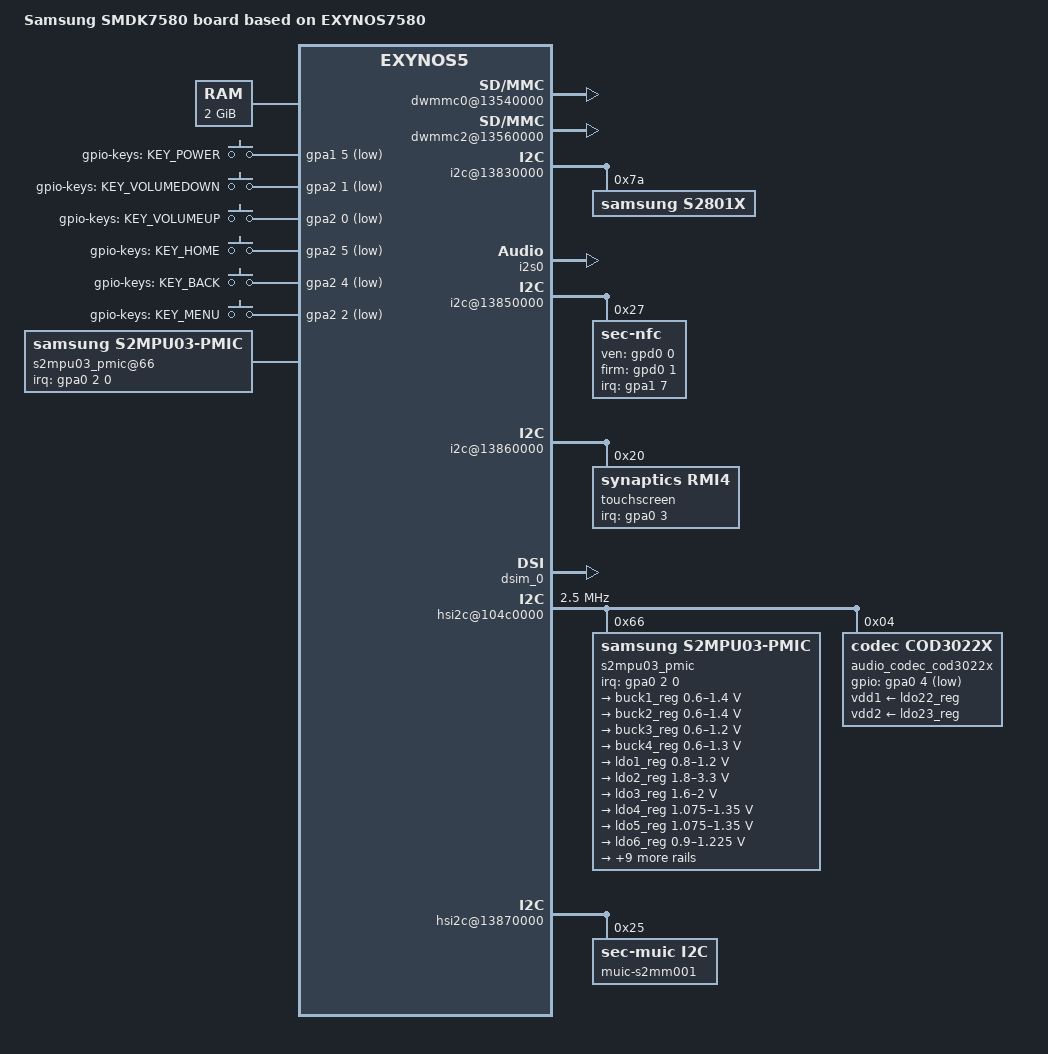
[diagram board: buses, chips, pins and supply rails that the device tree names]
/*
 * SAMSUNG SMDK7580 board device tree source
 *
 * Copyright (c) 2014 Samsung Electronics Co., Ltd.
 *		http://www.samsung.com
 *
 * This program is free software; you can redistribute it and/or modify
 * it under the terms of the GNU General Public License version 2 as
 * published by the Free Software Foundation.
 */

/dts-v1/;
#include "exynos7580.dtsi"
#include "exynos7580-modem-sh310ap.dtsi"

/ {
	model = "Samsung SMDK7580 board based on EXYNOS7580";
	compatible = "samsung,exynos7580-smdk7580", "samsung,exynos7580";

	aliases {
		spi0 = &spi_0;
		spi1 = &spi_1;
		spi2 = &spi_2;
	};

	chosen {
		bootargs = "console=ttySAC1,115200n8 ess_setup=0x26000000";
		linux,initrd-start = <0x22000000>;
		linux,initrd-end = <0x220FFFFF>;
	};

	fixed-rate-clocks {
		oscclk {
			compatible = "samsung,exynos7580-oscclk";
			clock-frequency = <26000000>;
		};
	};

	reserved-memory {
		#address-cells = <2>;
		#size-cells = <2>;
		ranges;

		fimc_is_fd_reserved: fimc_is_fd {
			compatible = "fd-lib-shmem";
			reg = <0x0 0x9f600000 0x0 0x100000>;
		};

		common {
			compatible = "exynos5433-ion,common";
			reg = <0x0 0x9f000000 0x0 0x600000>;
			id = <0>;
		};

		video {
			compatible = "exynos5433-ion,video";
			secure;
			reg = <0x0 0x9c100000 0x0 0x2f00000>;
			id = <11>;
			compat-id = <4 5 6 7>;
		};

		video_ext {
			compatible = "exynos5433-ion,video_ext";
			secure;
			reusable;
			reg = <0x0 0x99000000 0x0 0x1400000>;
			id = <1>;
		};

		video_ext2 {
			compatible = "exynos5433-ion,video_ext2";
			secure;
			reusable;
			reg = <0x0 0x9a400000 0x0 0x1800000>;
			id = <3>;
		};

		mfc_nfw {
			compatible = "exynos5433-ion,mfc_nfw";
			reg = <0x0 0x9bf00000 0x0 0x110000>;
			id = <12>;
		};

		mfc_fw {
			compatible = "exynos5433-ion,mfc_fw";
			secure;
			reg = <0x0 0x9bd00000 0x0 0x200000>;
			id = <8>;
		};

		secdma {
			compatible = "exynos5433-ion,secdma";
			size = <0 0x20000>;
			alignment = <0 0x10000>;
			id = <13>;
		};
	};

	memory@20000000 {
		device_type = "memory";
		reg = <0x0 0x20000000 0x0 0x80000000>;
	};

        dwmmc0@13540000 {
                status = "okay";
                num-slots = <1>;
                broken-cd;
                bypass-smu;
                fixed_volt;
                clock-gate;
                enable-cclk-on-suspend;
                only_once_tune;
                use-fine-tuning;
		ignore-phase = <(1 << 7)>;
                bypass-for-allpass;
                supports-highspeed;
                supports-hs200-mode;
                /* supports-ddr200-mode; */
                enable-cache-control;
                use-enable-shift;
                qos_int_level = <200000>;
                fifo-depth = <0x40>;
                card-detect-delay = <200>;
                samsung,dw-mshc-ciu-div = <3>;
                samsung,dw-mshc-sdr-timing = <3 0 2 1>;
                samsung,dw-mshc-ddr-timing = <3 0 3 2>;
                samsung,dw-mshc-hs200-timing = <3 0 3 1>;
                samsung,dw-mshc-ddr200-timing = <1 0 2 2>;
                samsung,dw-mshc-ddr200-delay-line = <118>;
                clk_pin = "gpr0-0";
                clk_addr = "13750000.pinctrl";
                clk_val = <0x3>;
                clk_str_num = <6>;
                tp_mon_depth = <2>;
                              /* Byte/s,  MIF clk, CPU clk, KFC clk*/
                tp_mon_table = <8000000 825000  800000  0
                                0       0       0       0>;
                num-ref-clks = <8>;
                ciu_clkin = <25 50 50 100 200 100 200 400>;
                pinctrl-names = "default";
                pinctrl-0 = <&sd0_clk &sd0_cmd &sd0_rdqs &sd0_bus1 &sd0_bus4 &sd0_bus8>;
                slot@0 {
                        reg = <0>;
                        bus-width = <8>;
                };
        };

        dwmmc2@13560000 {
                status = "okay";
                num-slots = <1>;
                supports-highspeed;
                enable-cclk-on-suspend;
                cd-type = <1>;
                bypass-smu;
                use-fine-tuning;
                clock-gate;
                fifo-depth = <0x40>;
                card-detect-delay = <200>;
                qos_int_level = <468000>;
                bypass-for-allpass;
                fix-fmp-size-mismatch;
                not-allow-single-dma;
                samsung,dw-mshc-ciu-div = <3>;
                samsung,dw-mshc-sdr-timing = <3 0 3 2>;
                samsung,dw-mshc-ddr-timing = <3 0 2 1>;
                clk_pin = "gpr4-0";
                clk_addr = "10E60000.pinctrl";
                clk_val = <0x2>;
                clk_str_num = <6>;
                num-ref-clks = <8>;
                ciu_clkin = <25 50 50 100 200 100 200 400>;
                pinctrl-names = "default";
                pinctrl-0 = <&sd2_clk &sd2_cmd &sd2_cd &sd2_bus1 &sd2_bus4>;
                slot@0 {
                        reg = <0>;
                        bus-width = <4>;
                        disable-wp;
                };
        };

	ion {
		compatible = "samsung,exynos5430-ion";
	};

	i2c@13830000 {
		samsung,i2c-sda-delay = <100>;
		samsung,i2c-max-bus-freq = <400000>;
		status = "okay";

		s2801x: s2801x@7a {
			compatible = "samsung,s2801x";
			reg = <0x7a>;
			clocks = <&clock 154>,	/* sclk_audmixer */
				 <&clock 155>,	/* sclk_audmixer_bclk0*/
				 <&clock 156>,	/* sclk_audmixer_bclk1 */
				 <&clock 157>,	/* sclk_audmixer_bclk2 */
				 <&clock 152>,	/* bclk_mi2s */
				 <&clock 149>;	/* dout_audmixer*/

			clock-names = "audmixer_sysclk", "audmixer_bclk0",
					"audmixer_bclk1", "audmixer_bclk2",
					"mi2s_bclk", "audmixer_dout";
			sysreg-reset = <0x110F2000>;
			sysreg-i2c = <0x110F3000>;
		};
	};

	i2s0: i2s@11040000 {
		status = "okay";
	};

	audio_cp_dummy: cp_dummy {
		compatible = "samsung,cp_dummy";
		status = "okay";
	};

	audio_bt_dummy: bt_dummy {
		compatible = "samsung,bt_dummy";
		status = "okay";
	};

	audio_codec_dummy: dummy-codec {
		compatible = "samsung,dummy-codec";
		status = "okay";
	};

	sound {
		compatible = "samsung,smdk7580-cod3022x";
		samsung,audio-cpu = <&i2s0	/* primary */
					&i2s0	/* secondary */
					&audio_cp_dummy
					&audio_bt_dummy>;
		samsung,audio-codec = <&audio_codec_cod3022x
					&audio_codec_cod3022x
					&audio_codec_cod3022x
					&audio_codec_dummy>;
		samsung,auxdev = <&s2801x>;
		status = "okay";
	};

	gpio_keys {
		compatible = "gpio-keys";
		pinctrl-names = "default";
		pinctrl-0 = <&gpa1_pull_up>, <&gpa2_pull_up>;

		button@1 {
			label = "gpio-keys: KEY_POWER";
			interrupt-parent = <&gpa1>;
			linux,code = <116>;
			gpios = <&gpa1 5 0xf>;
			gpio-key,wakeup = <1>;
		};
		button@2 {
			label = "gpio-keys: KEY_VOLUMEDOWN";
			interrupt-parent = <&gpa2>;
			linux,code = <114>;
			gpios = <&gpa2 1 0xf>;
		};
		button@3 {
			label = "gpio-keys: KEY_VOLUMEUP";
			interrupt-parent = <&gpa2>;
			linux,code = <115>;
			gpios = <&gpa2 0 0xf>;
		};
		button@4 {
			label = "gpio-keys: KEY_HOME";
			interrupt-parent = <&gpa2>;
			linux,code = <172>;
			gpios = <&gpa2 5 0xf>;
			gpio-key,wakeup = <1>;
		};
		button@5 {
			label = "gpio-keys: KEY_BACK";
			interrupt-parent = <&gpa2>;
			linux,code = <158>;
			gpios = <&gpa2 4 0xf>;
		};
		button@6 {
			label = "gpio-keys: KEY_MENU";
			interrupt-parent = <&gpa2>;
			linux,code = <139>;
			gpios = <&gpa2 2 0xf>;
		};
	};

	pinctrl@139B0000 {
		attn_irq: attn-irq {
			samsung,pins = "gpa0-3";
			samsung,pin-function = <0xf>;
			samsung,pin-pud = <0>;
			samsung,pin-drv = <0>;
		};
		attn_input: attn-input {
			samsung,pins = "gpa0-3";
			samsung,pin-function = <0>;
			samsung,pin-pud = <1>;
			samsung,pin-drv = <0>;
		};
		muic_irq: muic-irq {
			samsung,pins = "gpa1-0";
			samsung,pin-function = <0>;
			samsung,pin-pud = <0>;
			samsung,pin-drv = <0>;
		};
	};

	i2c@13850000 {
		samsung,i2c-sda-delay = <100>;
		samsung,i2c-max-bus-freq = <400000>;
		status = "okay";

		sec-nfc@27 {
			compatible = "sec-nfc";
			reg = <0x27>;

			sec-nfc,ven-gpio = <&gpd0 0 0>;
			sec-nfc,firm-gpio = <&gpd0 1 0>;

			sec-nfc,irq-gpio = <&gpa1 7 0>;
		};
	};

	i2c@13860000 {
		samsung,i2c-sda-delay = <100>;
		samsung,i2c-max-bus-freq = <400000>;
		status = "okay";

		touchscreen@20 {
			compatible = "synaptics,rmi4";
			reg = <0x20>;
			pinctrl-names = "on_state", "off_state";
			pinctrl-0 = <&attn_irq>;
			pinctrl-1 = <&attn_input>;
			synaptics,irq_gpio = <&gpa0 3 0>;
			synaptics,irq_type = <8200>;
			synaptics,max_coords = <1079 1919>;     /* x y */
			synaptics,num_lines = <29 16>;          /* rx tx */
			synaptics,regulator_dvdd = "tsp_io";
			synaptics,regulator_avdd = "tsp_avdd";
			synaptics,project_name = "";
		};
	};

	decon_fb@14830000 {
		/* XEINT7, GPIO & pin control */
		gpios = <&gpa0 7 0xf>;
		psr_mode = <2>;		/* 0: video mode, 1: DP command mode, 2: MIPI command mode */
		disp-pll-clk = <142000000>;
		status = "okay";
	};

	dsim_0: dsim@14800000 {
		lcd_info = <&s6e3fa0>;
		decon_board = <&decon_board_list>;
		/* lcd reset, power */
		/* gpios = <&gpd1 3 0x1>; */
		status = "okay";
	};

	decon_board_list: decon_board_list {
		dsim_set_panel_power_disable {
			type = "gpio,low", "delay,usleep";
			gpios = <&gpd1 3 0x1>;
			delay = <10000 11000>;
		};
		dsim_reset_panel {
			type = "gpio,high", "delay,usleep", "gpio,low", "delay,usleep", "gpio,high", "delay,usleep";
			gpios = <&gpd1 3 0x1>, <&gpd1 3 0x1>, <&gpd1 3 0x1>;
			delay = <10000 11000>, <10000 11000>, <10000 11000>;
		};
	};

	s6e3fa0: s6e3fa0_fhd {
		mode = <2>; /* 0: video mode, 1: DP command mode, 2: MIPI command mode */
		resolution = <1080 1920>;
		size = <70 121>;
		timing,refresh = <60>;
		timing,h-porch = <1 1 1>;
		timing,v-porch = <10 1 1>;
		timing,dsi-hs-clk = <1100>;
		timing,dsi-escape-clk = <20>;
	};

	pinctrl@139B0000 {
		pmic_irq: pmic-irq {
			samsung,pins = "gpa0-2";
			samsung,pin-pud = <3>;
			samsung,pin-drv = <3>;
		};
		cod3022_irq: cod3022-irq {
			samsung,pins = "gpa0-4";
			samsung,pin-pud = <3>;
			samsung,pin-drv = <3>;
		};
	};

	pinctrl@139C0000 {
		/* Warm reset information from AP */
		pm_wrsti: pm-wrsti {
			samsung,pins = "gpd0-7";
			samsung,pin-con-pdn = <3>;
		};
	};

	hsi2c@104c0000 {
                status = "okay";
		samsung,hs-mode;
		clock-frequency = <2500000>;
		samsung,hsi2c-batcher;
		#address-cells = <1>;
		#size-cells = <0>;
		s2mpu03_pmic@66 {
			compatible = "samsung,s2mpu03-pmic";
			reg = <0x66>;
			ten-bit-address;
			interrupts = <2 0 0>;
			interrupt-parent = <&gpa0>;
			pinctrl-names = "default";
			pinctrl-0 = <&pmic_irq &pm_wrsti>;
			g3d_en = <1>; /* 1 : enable , 0 : disable */
			/*
			buck4en_pin = "etc1-3";
			buck4en_addr = "1111111.pinctrl";
			*/
			/* RTC: wtsr/smpl */
			wtsr_en = <1>; /* enable */
			smpl_en = <1>; /* enable */
			wtsr_timer_val = <3>;   /* 1000ms */
			smpl_timer_val = <0>;   /* 500ms */
			check_jigon = <0>; /* do not check jigon */
			/* RTC: If it's first boot, reset rtc to 1/1/2014 12:00:00(Wed) */
			init_time,sec = <0>;
			init_time,min = <0>;
			init_time,hour = <12>;
			init_time,mday = <1>;
			init_time,mon = <0>;
			init_time,year = <114>;
			init_time,wday = <3>;

			regulators {
				buck1_reg: BUCK1 {
					regulator-name = "cpu-cluster.1";
					regulator-min-microvolt = <600000>;
					regulator-max-microvolt = <1400000>;
					regulator-always-on;
					regulator-boot-on;
					regulator-ramp-delay = <12000>;
					regulator-initial-mode = <1>;
				};

				buck2_reg: BUCK2 {
					regulator-name = "cpu-cluster.0";
					regulator-min-microvolt = <600000>;
					regulator-max-microvolt = <1400000>;
					regulator-always-on;
					regulator-boot-on;
					regulator-ramp-delay = <12000>;
					regulator-initial-mode = <1>;
				};

				buck3_reg: BUCK3 {
					regulator-name = "vdd_intmif";
					regulator-min-microvolt = <600000>;
					regulator-max-microvolt = <1200000>;
					regulator-always-on;
					regulator-boot-on;
					regulator-ramp-delay = <12000>;
					regulator-initial-mode = <1>;
				};

				buck4_reg: BUCK4 {
					regulator-name = "vdd_g3d";
					regulator-min-microvolt = <600000>;
					regulator-max-microvolt = <1300000>;
					regulator-always-on;
					regulator-boot-on;
					regulator-ramp-delay = <12000>;
					regulator-initial-mode = <1>;
				};

				ldo1_reg: LDO1 {
					regulator-name = "vdd_ldo1";
					regulator-min-microvolt = <800000>;
					regulator-max-microvolt = <1200000>;
					regulator-always-on;
					regulator-ramp-delay = <12000>;
					regulator-initial-mode = <3>;
				};

				ldo2_reg: LDO2 {
					regulator-name = "vqmmc";
					regulator-min-microvolt = <1800000>;
					regulator-max-microvolt = <3300000>;
					regulator-boot-on;
					regulator-always-on;
					regulator-ramp-delay = <12000>;
					regulator-initial-mode = <1>;
				};

				ldo3_reg: LDO3 {
					regulator-name = "vdd_ldo3";
					regulator-min-microvolt = <1600000>;
					regulator-max-microvolt = <2000000>;
					regulator-boot-on;
					regulator-always-on;
					regulator-ramp-delay = <12000>;
					regulator-initial-mode = <3>;
				};

				ldo4_reg: LDO4 {
					regulator-name = "vdd_ldo4";
					regulator-min-microvolt = <1075000>;
					regulator-max-microvolt = <1350000>;
					regulator-boot-on;
					regulator-always-on;
					regulator-ramp-delay = <12000>;
					regulator-initial-mode = <1>;
				};

				ldo5_reg: LDO5 {
					regulator-name = "vdd_ldo5";
					regulator-min-microvolt = <1075000>;
					regulator-max-microvolt = <1350000>;
					regulator-boot-on;
					regulator-always-on;
					regulator-ramp-delay = <12000>;
					regulator-initial-mode = <3>;
				};

				ldo6_reg: LDO6 {
					regulator-name = "vdd_ldo6";
					regulator-min-microvolt = <900000>;
					regulator-max-microvolt = <1225000>;
					regulator-boot-on;
					regulator-always-on;
					regulator-ramp-delay = <12000>;
					regulator-initial-mode = <1>;
				};

				ldo7_reg: LDO7 {
					regulator-name = "vdd_ldo7";
					regulator-min-microvolt = <1600000>;
					regulator-max-microvolt = <2000000>;
					regulator-boot-on;
					regulator-always-on;
					regulator-initial-mode = <1>;
				};

				ldo8_reg: LDO8 {
					regulator-name = "vdd_ldo8";
					regulator-min-microvolt = <2250000>;
					regulator-max-microvolt = <3300000>;
					regulator-boot-on;
					regulator-always-on;
					regulator-initial-mode = <1>;
				};

				ldo10_reg: LDO10 {
					regulator-name = "vdd_ldo10";
					regulator-min-microvolt = <800000>;
					regulator-max-microvolt = <1350000>;
					regulator-always-on;
					regulator-initial-mode = <1>;
				};

				ldo22_reg: LDO22 {
					regulator-name = "codec_ldo22";
					regulator-min-microvolt = <1000000>;
					regulator-max-microvolt = <2375000>;
					regulator-boot-on;
					regulator-always-on;
					regulator-initial-mode = <3>;
				};

				ldo23_reg: LDO23 {
					regulator-name = "codec_ldo23";
					regulator-min-microvolt = <1000000>;
					regulator-max-microvolt = <2375000>;
					regulator-boot-on;
					regulator-always-on;
					regulator-initial-mode = <3>;
				};

				ldo30_reg: LDO30 {
					regulator-name = "vdd_lcd3p0v";
					regulator-min-microvolt = <1800000>;
					regulator-max-microvolt = <3375000>;
					regulator-always-on;
					regulator-initial-mode = <1>;
				};

				ldo31_reg: LDO31 {
					regulator-name = "vdd_lcd1p8v";
					regulator-min-microvolt = <1000000>;
					regulator-max-microvolt = <2375000>;
					regulator-always-on;
					regulator-initial-mode = <1>;
				};

				ldo33_reg: LDO33 {
					regulator-name = "tsp_io";
					regulator-min-microvolt = <1800000>;
					regulator-max-microvolt = <3375000>;
					regulator-always-on;
					regulator-initial-mode = <1>;
				};

				ldo36_reg: LDO36 {
					regulator-name = "tsp_avdd";
					regulator-min-microvolt = <1000000>;
					regulator-max-microvolt = <2375000>;
					regulator-always-on;
					regulator-initial-mode = <1>;
				};
			};
		};

		audio_codec_cod3022x: cod3022x@04 {
			compatible = "codec,cod3022x";
			reg = <0x04>;
			ten-bit-address;
			vdd1-supply = <&ldo22_reg>;
			vdd2-supply = <&ldo23_reg>;
			pinctrl-names = "default", "idle";
			pinctrl-0 = <&i2s_pmic_bus &cod3022_irq>;
			pinctrl-1 = <&i2s_pmic_bus_idle>;
			interrupt-parent = <&gpa0>;
                        gpios = <&gpa0 4 0xf>;
		};
	};

	usb_notifier {
		compatible = "samsung,usb-notifier";
	};

	hsi2c@13870000 {
		status = "okay";
		muic-s2mm001@25 {
			compatible = "sec-muic,i2c";
			reg = <0x25>;
			pinctrl-names = "default";
			muic,muic_int = <&gpa1 0 0>;
		};
	};
		samsung,hs-mode;
		clock-frequency = <2500000>;
		#address-cells = <1>;
		#size-cells = <0>;
		s2mpu03_pmic@66 {
			compatible = "samsung,s2mpu03-pmic";
			reg = <0x66>;
			interrupts = <2 0 0>;
			interrupt-parent = <&gpa0>;
			pinctrl-names = "default";
			pinctrl-0 = <&pmic_irq &pm_wrsti>;
			g3d_en = <0>; /* 1 : enable , 0 : disable */
			/*
			buck4en_pin = "etc1-3";
			buck4en_addr = "1111111.pinctrl";
			*/
			/* RTC: wtsr/smpl */
			wtsr_en = <1>; /* enable */
			smpl_en = <1>; /* enable */
			wtsr_timer_val = <3>;   /* 1000ms */
			smpl_timer_val = <0>;   /* 500ms */
			check_jigon = <0>; /* do not check jigon */
			/* RTC: If it's first boot, reset rtc to 1/1/2014 12:00:00(Wed) */
			init_time,sec = <0>;
			init_time,min = <0>;
			init_time,hour = <12>;
			init_time,mday = <1>;
			init_time,mon = <0>;
			init_time,year = <114>;
			init_time,wday = <3>;

			regulators {
				buck1_reg: BUCK1 {
					regulator-name = "cpu-cluster.1";
					regulator-min-microvolt = <600000>;
					regulator-max-microvolt = <1400000>;
					regulator-always-on;
					regulator-boot-on;
					regulator-ramp-delay = <12000>;
					regulator-initial-mode = <1>;
				};

				buck2_reg: BUCK2 {
					regulator-name = "cpu-cluster.0";
					regulator-min-microvolt = <600000>;
					regulator-max-microvolt = <1400000>;
					regulator-always-on;
					regulator-boot-on;
					regulator-ramp-delay = <12000>;
					regulator-initial-mode = <1>;
				};

				buck3_reg: BUCK3 {
					regulator-name = "vdd_intmif";
					regulator-min-microvolt = <600000>;
					regulator-max-microvolt = <1200000>;
					regulator-always-on;
					regulator-boot-on;
					regulator-ramp-delay = <12000>;
					regulator-initial-mode = <1>;
				};

				buck4_reg: BUCK4 {
					regulator-name = "vdd_g3d";
					regulator-min-microvolt = <600000>;
					regulator-max-microvolt = <1300000>;
					regulator-always-on;
					regulator-boot-on;
					regulator-ramp-delay = <12000>;
					regulator-initial-mode = <1>;
				};

				ldo1_reg: LDO1 {
					regulator-name = "vdd_ldo1";
					regulator-min-microvolt = <800000>;
					regulator-max-microvolt = <1200000>;
					regulator-always-on;
					regulator-ramp-delay = <12000>;
					regulator-initial-mode = <3>;
				};

				ldo2_reg: LDO2 {
					regulator-name = "vqmmc";
					regulator-min-microvolt = <1800000>;
					regulator-max-microvolt = <3300000>;
					regulator-boot-on;
					regulator-always-on;
					regulator-ramp-delay = <12000>;
					regulator-initial-mode = <1>;
				};

				ldo3_reg: LDO3 {
					regulator-name = "vdd_ldo3";
					regulator-min-microvolt = <1600000>;
					regulator-max-microvolt = <2000000>;
					regulator-boot-on;
					regulator-always-on;
					regulator-ramp-delay = <12000>;
					regulator-initial-mode = <3>;
				};

				ldo4_reg: LDO4 {
					regulator-name = "vdd_ldo4";
					regulator-min-microvolt = <1075000>;
					regulator-max-microvolt = <1350000>;
					regulator-boot-on;
					regulator-always-on;
					regulator-ramp-delay = <12000>;
					regulator-initial-mode = <1>;
				};

				ldo5_reg: LDO5 {
					regulator-name = "vdd_ldo5";
					regulator-min-microvolt = <1075000>;
					regulator-max-microvolt = <1350000>;
					regulator-boot-on;
					regulator-always-on;
					regulator-ramp-delay = <12000>;
					regulator-initial-mode = <3>;
				};

				ldo6_reg: LDO6 {
					regulator-name = "vdd_ldo6";
					regulator-min-microvolt = <900000>;
					regulator-max-microvolt = <1225000>;
					regulator-boot-on;
					regulator-always-on;
					regulator-ramp-delay = <12000>;
					regulator-initial-mode = <1>;
				};

				ldo7_reg: LDO7 {
					regulator-name = "vdd_ldo7";
					regulator-min-microvolt = <1600000>;
					regulator-max-microvolt = <2000000>;
					regulator-boot-on;
					regulator-always-on;
					regulator-initial-mode = <1>;
				};

				ldo8_reg: LDO8 {
					regulator-name = "vdd_ldo8";
					regulator-min-microvolt = <2250000>;
					regulator-max-microvolt = <3300000>;
					regulator-boot-on;
					regulator-always-on;
					regulator-initial-mode = <1>;
				};

				ldo10_reg: LDO10 {
					regulator-name = "vdd_ldo10";
					regulator-min-microvolt = <800000>;
					regulator-max-microvolt = <1350000>;
					regulator-always-on;
					regulator-initial-mode = <1>;
				};

				ldo22_reg: LDO22 {
					regulator-name = "codec_ldo22";
					regulator-min-microvolt = <1000000>;
					regulator-max-microvolt = <2375000>;
					/* regulator-always-on; */
					regulator-initial-mode = <1>;
				};

				ldo23_reg: LDO23 {
					regulator-name = "codec_ldo23";
					regulator-min-microvolt = <1000000>;
					regulator-max-microvolt = <2375000>;
					/* regulator-always-on; */
					regulator-initial-mode = <1>;
				};

				ldo30_reg: LDO30 {
					regulator-name = "vdd_lcd3p0v";
					regulator-min-microvolt = <1800000>;
					regulator-max-microvolt = <3375000>;
					regulator-always-on;
					regulator-initial-mode = <1>;
				};

				ldo31_reg: LDO31 {
					regulator-name = "vdd_lcd1p8v";
					regulator-min-microvolt = <1000000>;
					regulator-max-microvolt = <2375000>;
					regulator-always-on;
					regulator-initial-mode = <1>;
				};

				ldo33_reg: LDO33 {
					regulator-name = "tsp_io";
					regulator-min-microvolt = <1800000>;
					regulator-max-microvolt = <3375000>;
					/* regulator-always-on; */
					regulator-initial-mode = <1>;
				};

				ldo36_reg: LDO36 {
					regulator-name = "tsp_avdd";
					regulator-min-microvolt = <1000000>;
					regulator-max-microvolt = <2375000>;
					/* regulator-always-on; */
					regulator-initial-mode = <1>;
				};
			};
		};
	};

	usb_notifier {
		compatible = "samsung,usb-notifier";
	};

	hsi2c@13870000 {
		status = "okay";
		muic-s2mm001@25 {
			compatible = "sec-muic,i2c";
			reg = <0x25>;
			pinctrl-names = "default";
			muic,muic_int = <&gpa1 0 0>;
		};
	};

	pinctrl@138C0000 {
		gpio_cp_reset: gpio_cp_reset {
			samsung,pins = "gpc3-3";
			samsung,pin-function = <0x1>;
			samsung,pin-pud = <3>;
			samsung,pin-drv = <3>;
			samsung,pin-val = <1>;
			samsung,pin-con-pdn = <1>;
		};
	};

	fimc_is_sensor_3l2: fimc-is_sensor_3l2@0 {
		compatible = "samsung,exynos5-fimc-is-sensor-3l2";

		pinctrl-names = "pin0", "pin1";
		pinctrl-0 = <&fimc_is_mclk0_fn &fimc_is_i2c0>; /* rear on */
		pinctrl-1 = <&fimc_is_mclk0_in &fimc_is_i2c0>; /* rear off */

		position = <0>; /* Rear:0. Front:1 */
		id = <0>; /* bns_id */
		mclk_ch = <0>;
		sensor_i2c_ch = <0>; /* I2C 0 */
		sensor_i2c_addr = <0x0>;

		gpio_reset = <&gpd0 6 0x1>; /* sensor reset */
		status = "okay";

		af {
			product_name = <8>; /* DW9804 */
			i2c_addr = <0x5A>;
			i2c_ch = <0>; /* I2C 0 */
		};
	};

	fimc_is_sensor_5e3: fimc-is_sensor_5e3@0 {
		compatible = "samsung,exynos5-fimc-is-sensor-5e3";

		pinctrl-names = "pin0", "pin1";
		pinctrl-0 = <&fimc_is_mclk1_fn &fimc_is_i2c1>; /* front on */
		pinctrl-1 = <&fimc_is_mclk1_in &fimc_is_i2c1>; /* front off */

		position = <1>; /* Rear:0. Front:1 */
		id = <1>; /* bns_id */
		mclk_ch = <1>;
		sensor_i2c_ch = <1>;
		sensor_i2c_addr = <0x0>;

		gpio_reset = <&gpc3 2 0x1>;
		status = "okay";
	};

	fimc_is_sensor0: fimc_is_sensor@144a0000 {
		scenario = <0>;
		id = <0>;
		mclk_ch = <0>;
		csi_ch = <0>;
		flite_ch = <0>;
		i2c_ch = <0>;
		i2c_addr = <0x0>;
		is_bns = <1>;
		status = "okay";
	};

	fimc_is_sensor1: fimc_is_sensor@144b0000 {
		scenario = <0>;
		id = <1>;
		mclk_ch = <1>;
		csi_ch = <1>;
		flite_ch = <1>;
		i2c_ch = <1>;
		i2c_addr = <0x0>;
		is_bns = <0>;
		status = "okay";
	};

	fimc_is@14400000 {
		rear_sensor_id = <8>;
		front_sensor_id = <17>;
		skip_cal_loading;

		#define DVFS_INT_L0 400000
		#define DVFS_INT_L1 334000
		#define DVFS_INT_L2 267000
		#define DVFS_INT_L3 200000
		#define DVFS_INT_L4 160000
		#define DVFS_INT_L5 134000
		#define DVFS_INT_L6 111000
		#define DVFS_INT_L7 100000

		#define DVFS_CAM_L0 530000
		#define DVFS_CAM_L1 480000
		#define DVFS_CAM_L2 430000
		#define DVFS_CAM_L3 400000
		#define DVFS_CAM_L4 200000

		#define DVFS_MIF_L0 825000
		#define DVFS_MIF_L1 728000
		#define DVFS_MIF_L2 667000
		#define DVFS_MIF_L3 559000
		#define DVFS_MIF_L4 416000
		#define DVFS_MIF_L5 338000
		#define DVFS_MIF_L6 273000
		#define DVFS_MIF_L7 200000

		fimc_is_dvfs {
			default_int = <DVFS_INT_L0>;
			default_cam = <DVFS_CAM_L0>;
			default_mif = <DVFS_MIF_L0>;
			default_i2c = <0>;

			front_preview_int = <DVFS_INT_L0>;
			front_preview_cam = <DVFS_CAM_L0>;
			front_preview_mif = <DVFS_MIF_L0>;
			front_preview_i2c = <0>;

			front_capture_int = <DVFS_INT_L0>;
			front_capture_cam = <DVFS_CAM_L0>;
			front_capture_mif = <DVFS_MIF_L0>;
			front_capture_i2c = <0>;

			front_video_int = <DVFS_INT_L0>;
			front_video_cam = <DVFS_CAM_L0>;
			front_video_mif = <DVFS_MIF_L0>;
			front_video_i2c = <0>;

			front_video_whd_int = <DVFS_INT_L0>;
			front_video_whd_cam = <DVFS_CAM_L0>;
			front_video_whd_mif = <DVFS_MIF_L0>;
			front_video_whd_i2c = <0>;

			front_video_capture_int = <DVFS_INT_L0>;
			front_video_capture_cam = <DVFS_CAM_L0>;
			front_video_capture_mif = <DVFS_MIF_L0>;
			front_video_capture_i2c = <0>;

			front_video_whd_capture_int = <DVFS_INT_L0>;
			front_video_whd_capture_cam = <DVFS_CAM_L0>;
			front_video_whd_capture_mif = <DVFS_MIF_L0>;
			front_video_whd_capture_i2c = <0>;

			front_vt1_int = <DVFS_INT_L0>;
			front_vt1_cam = <DVFS_CAM_L0>;
			front_vt1_mif = <DVFS_MIF_L0>;
			front_vt1_i2c = <0>;

			front_vt2_int = <DVFS_INT_L0>;
			front_vt2_cam = <DVFS_CAM_L0>;
			front_vt2_mif = <DVFS_MIF_L0>;
			front_vt2_i2c = <0>;

			rear_preview_fhd_int = <DVFS_INT_L0>;
			rear_preview_fhd_cam = <DVFS_CAM_L0>;
			rear_preview_fhd_mif = <DVFS_MIF_L0>;
			rear_preview_fhd_i2c = <0>;

			rear_preview_whd_int = <DVFS_INT_L0>;
			rear_preview_whd_cam = <DVFS_CAM_L0>;
			rear_preview_whd_mif = <DVFS_MIF_L0>;
			rear_preview_whd_i2c = <0>;

			rear_preview_uhd_int = <DVFS_INT_L0>;
			rear_preview_uhd_cam = <DVFS_CAM_L0>;
			rear_preview_uhd_mif = <DVFS_MIF_L0>;
			rear_preview_uhd_i2c = <0>;

			rear_capture_int = <DVFS_INT_L0>;
			rear_capture_cam = <DVFS_CAM_L0>;
			rear_capture_mif = <DVFS_MIF_L0>;
			rear_capture_i2c = <0>;

			rear_video_fhd_int = <DVFS_INT_L0>;
			rear_video_fhd_cam = <DVFS_CAM_L0>;
			rear_video_fhd_mif = <DVFS_MIF_L0>;
			rear_video_fhd_i2c = <0>;

			rear_video_uhd_int = <DVFS_INT_L0>;
			rear_video_uhd_cam = <DVFS_CAM_L0>;
			rear_video_uhd_mif = <DVFS_MIF_L0>;
			rear_video_uhd_i2c = <0>;

			rear_video_fhd_capture_int = <DVFS_INT_L0>;
			rear_video_fhd_capture_cam = <DVFS_CAM_L0>;
			rear_video_fhd_capture_mif = <DVFS_MIF_L0>;
			rear_video_fhd_capture_i2c = <0>;

			rear_video_uhd_capture_int = <DVFS_INT_L0>;
			rear_video_uhd_capture_cam = <DVFS_CAM_L0>;
			rear_video_uhd_capture_mif = <DVFS_MIF_L0>;
			rear_video_uhd_capture_i2c = <0>;

			dual_preview_int = <DVFS_INT_L0>;
			dual_preview_cam = <DVFS_CAM_L0>;
			dual_preview_mif = <DVFS_MIF_L0>;
			dual_preview_i2c = <0>;

			dual_capture_int = <DVFS_INT_L0>;
			dual_capture_cam = <DVFS_CAM_L0>;
			dual_capture_mif = <DVFS_MIF_L0>;
			dual_capture_i2c = <0>;

			dual_video_int = <DVFS_INT_L0>;
			dual_video_cam = <DVFS_CAM_L0>;
			dual_video_mif = <DVFS_MIF_L0>;
			dual_video_i2c = <0>;

			dual_video_capture_int = <DVFS_INT_L0>;
			dual_video_capture_cam = <DVFS_CAM_L0>;
			dual_video_capture_mif = <DVFS_MIF_L0>;
			dual_video_capture_i2c = <0>;

			preview_high_speed_fps_int = <DVFS_INT_L0>;
			preview_high_speed_fps_cam = <DVFS_CAM_L0>;
			preview_high_speed_fps_mif = <DVFS_MIF_L0>;
			preview_high_speed_fps_i2c = <0>;

			video_high_speed_fps_int = <DVFS_INT_L0>;
			video_high_speed_fps_cam = <DVFS_CAM_L0>;
			video_high_speed_fps_mif = <DVFS_MIF_L0>;
			video_high_speed_fps_i2c = <0>;

			max_int = <DVFS_INT_L0>;
			max_cam = <DVFS_CAM_L0>;
			max_mif = <DVFS_MIF_L0>;
			max_i2c = <0>;
		};
	};
};
